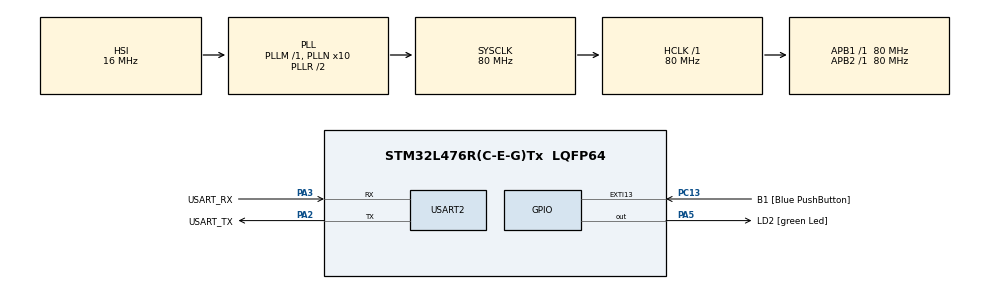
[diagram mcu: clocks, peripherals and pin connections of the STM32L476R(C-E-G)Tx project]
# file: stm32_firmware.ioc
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CRC.InputDataInversionMode=CRC_INPUTDATA_INVERSION_BYTE
CRC.OutputDataInversionMode=CRC_OUTPUTDATA_INVERSION_ENABLE
Dma.Request0=USART2_RX
Dma.USART2_RX.0.Direction=DMA_PERIPH_TO_MEMORY
Dma.USART2_RX.0.Instance=DMA1_Channel6
Dma.USART2_RX.0.MemDataAlignment=DMA_MDATAALIGN_BYTE
Dma.USART2_RX.0.MemInc=DMA_MINC_ENABLE
Dma.USART2_RX.0.Mode=DMA_NORMAL
Dma.USART2_RX.0.PeriphDataAlignment=DMA_PDATAALIGN_BYTE
Dma.USART2_RX.0.PeriphInc=DMA_PINC_DISABLE
Dma.USART2_RX.0.Priority=DMA_PRIORITY_VERY_HIGH
Mcu.Family=STM32L4
Mcu.Name=STM32L476R(C-E-G)Tx
Mcu.Package=LQFP64
NVIC.DMA1_Channel6_IRQn=true\:0\:0\:false\:false\:true\:false\:true\:true
NVIC.PriorityGroup=NVIC_PRIORITYGROUP_4
NVIC.USART2_IRQn=true\:0\:0\:false\:false\:true\:true\:true\:true
PA13\ (JTMS-SWDIO).GPIO_Label=TMS
PA13\ (JTMS-SWDIO).Mode=Serial_Wire
PA13\ (JTMS-SWDIO).Signal=SYS_JTMS-SWDIO
PA14\ (JTCK-SWCLK).GPIO_Label=TCK
PA14\ (JTCK-SWCLK).Mode=Serial_Wire
PA14\ (JTCK-SWCLK).Signal=SYS_JTCK-SWCLK
PA2.GPIO_Label=USART_TX
PA2.GPIO_Mode=GPIO_MODE_AF_PP
PA2.GPIO_PuPd=GPIO_NOPULL
PA2.GPIO_Speed=GPIO_SPEED_FREQ_VERY_HIGH
PA2.Mode=Asynchronous
PA2.Signal=USART2_TX
PA3.GPIO_Label=USART_RX
PA3.GPIO_Mode=GPIO_MODE_AF_PP
PA3.GPIO_PuPd=GPIO_NOPULL
PA3.GPIO_Speed=GPIO_SPEED_FREQ_VERY_HIGH
PA3.Mode=Asynchronous
PA3.Signal=USART2_RX
PA5.GPIO_Label=LD2 [green Led]
PA5.GPIO_ModeDefaultOutputPP=GPIO_MODE_OUTPUT_PP
PA5.GPIO_PuPd=GPIO_NOPULL
PA5.GPIO_Speed=GPIO_SPEED_FREQ_LOW
PA5.Signal=GPIO_Output
PB3\ (JTDO-TRACESWO).GPIO_Label=SWO
PB3\ (JTDO-TRACESWO).Signal=SYS_JTDO-SWO
PC13.GPIO_Label=B1 [Blue PushButton]
PC13.GPIO_ModeDefaultEXTI=GPIO_MODE_IT_FALLING
PC13.GPIO_PuPd=GPIO_NOPULL
PC13.Signal=GPXTI13
PC14-OSC32_IN\ (PC14).Mode=LSE-External-Oscillator
PC14-OSC32_IN\ (PC14).Signal=RCC_OSC32_IN
PC15-OSC32_OUT\ (PC15).Mode=LSE-External-Oscillator
PC15-OSC32_OUT\ (PC15).Signal=RCC_OSC32_OUT
PH0-OSC_IN\ (PH0).Signal=RCC_OSC_IN
PH1-OSC_OUT\ (PH1).Signal=RCC_OSC_OUT
ProjectManager.HeapSize=0x200
ProjectManager.StackSize=0x400
ProjectManager.TargetToolchain=CMake
RCC.ADCFreq_Value=64000000
RCC.AHBFreq_Value=80000000
RCC.APB1Freq_Value=80000000
RCC.APB1TimFreq_Value=80000000
RCC.APB2Freq_Value=80000000
RCC.APB2TimFreq_Value=80000000
RCC.CortexFreq_Value=80000000
RCC.HCLKFreq_Value=80000000
RCC.HSE_VALUE=8000000
RCC.HSI_VALUE=16000000
RCC.MSI_VALUE=4000000
RCC.PLLN=10
RCC.PLLSourceVirtual=RCC_PLLSOURCE_HSI
RCC.PREFETCH_ENABLE=1
RCC.SYSCLKFreq_VALUE=80000000
RCC.SYSCLKSource=RCC_SYSCLKSOURCE_PLLCLK
RCC.USBFreq_Value=64000000
RCC.VCOOutputFreq_Value=160000000
USART2.VirtualMode-Asynchronous=VM_ASYNC
VP_CRC_VS_CRC.Mode=CRC_Activate
board=NUCLEO-L476RG

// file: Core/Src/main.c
/* USER CODE BEGIN Header */
/**
 ******************************************************************************
 * @file           : main.c
 * @brief          : Main program body
 ******************************************************************************
 * @attention
 *
 * Copyright (c) 2025 STMicroelectronics.
 * All rights reserved.
 *
 * This software is licensed under terms that can be found in the LICENSE file
 * in the root directory of this software component.
 * If no LICENSE file comes with this software, it is provided AS-IS.
 *
 ******************************************************************************
 */
/* USER CODE END Header */
#include "main.h"

/* USER CODE BEGIN Includes */

#include "stdbool.h"
#include "string.h"
#include <stdlib.h>
#include <stdio.h>

/* USER CODE END Includes */

CRC_HandleTypeDef hcrc;

UART_HandleTypeDef huart2;
DMA_HandleTypeDef hdma_usart2_rx;

/* USER CODE BEGIN PV */

#define UART2RxBufferSize 200
uint8_t UART2RxBuffer[UART2RxBufferSize];

// Position data frame specific variables
uint8_t DataFramaBuffer[UART2RxBufferSize];
volatile bool DataFrameReceived = false;
volatile uint16_t DataFrameLen = 0;

uint8_t DataFrameStartBit = 0x80;
uint8_t DataFrameEndBit = 0x81;

void HAL_UARTEx_RxEventCallback(UART_HandleTypeDef *huart, uint16_t Size)
{
  if (huart->Instance == USART2)
  {
    // HAL_UART_RxEventTypeTypeDef RxEventType = HAL_UARTEx_GetRxEventType(huart);

    // Check if the data frame is received
    if (UART2RxBuffer[0] == DataFrameStartBit && UART2RxBuffer[Size - 1] == DataFrameEndBit)
    {
      memcpy(DataFramaBuffer, UART2RxBuffer, Size);
      DataFrameLen = Size;
      DataFrameReceived = true;
    }

    HAL_UARTEx_ReceiveToIdle_DMA(&huart2, UART2RxBuffer, UART2RxBufferSize);
    __HAL_DMA_DISABLE_IT(&hdma_usart2_rx, DMA_IT_HT); // Disable Half Transfer interrupt
  }
}

/* USER CODE END PV */

void SystemClock_Config(void);
static void MX_GPIO_Init(void);
static void MX_DMA_Init(void);
static void MX_USART2_UART_Init(void);
static void MX_CRC_Init(void);

/* USER CODE BEGIN 0 */

// This magic CRC32 function is necessary to match the CRC32 calculation of ZLIB
// from https://techoverflow.net/2024/08/13/how-to-configure-stm32h7-hardware-crc-to-match-zlib-crc32-in-python/
uint32_t CalculateCRC32(uint8_t *data, size_t length)
{
  uint32_t crc_result = HAL_CRC_Calculate(&hcrc, (uint32_t *)data, length);
  return crc_result ^ 0xFFFFFFFF;
}

/* USER CODE END 0 */

int main(void)
{

  /* MCU Configuration--------------------------------------------------------*/

  /* Reset of all peripherals, Initializes the Flash interface and the Systick. */
  HAL_Init();

  /* Configure the system clock */
  SystemClock_Config();

  /* Initialize all configured peripherals */
  MX_GPIO_Init();
  MX_DMA_Init();
  MX_USART2_UART_Init();
  MX_CRC_Init();
  /* USER CODE BEGIN 2 */

  // Start UART DMA communication
  HAL_UARTEx_ReceiveToIdle_DMA(&huart2, UART2RxBuffer, UART2RxBufferSize);
  __HAL_DMA_DISABLE_IT(&hdma_usart2_rx, DMA_IT_HT); // Disable Half Transfer interrupt

  /* USER CODE END 2 */

  /* Infinite loop */
  while (1)
  {

    /* USER CODE BEGIN 3 */

    if (DataFrameReceived)
    {
      DataFrameReceived = false;

      // Check start and end bits
      if (DataFramaBuffer[0] != DataFrameStartBit || DataFramaBuffer[DataFrameLen - 1] != DataFrameEndBit)
      {
        // Invalid data frame
        continue;
      }

      // Process the payload
      uint16_t payload_len = (uint16_t)(DataFramaBuffer[1]) << 8 | DataFramaBuffer[2];

      // Check the payload length
      // payload length = data frame length - 8 (start bit, end bit, 2 bytes for payload length, 4 bytes for CRC)
      if ((payload_len != DataFrameLen - 8) || (payload_len == 0))
      {
        // Invalid data frame
        continue;
      }

      const uint8_t *payload = &DataFramaBuffer[3];

      // Check CRC32 of payload
      uint32_t crc = (uint32_t)(DataFramaBuffer[DataFrameLen - 5]) << 24 | (uint32_t)(DataFramaBuffer[DataFrameLen - 4]) << 16 | (uint32_t)(DataFramaBuffer[DataFrameLen - 3]) << 8 | (uint32_t)(DataFramaBuffer[DataFrameLen - 2]);
      uint32_t crc_calculated = CalculateCRC32(payload, payload_len);

      if (crc != crc_calculated)
      {
        HAL_UART_Transmit(&huart2, (uint8_t *)"CRC Error\n", strlen("CRC Error\n"), 1000);
        // Invalid data frame
        continue;
      }

      int field_count = 0;
      size_t i = 0;
      while (i < payload_len)
      {
        if (i + 1 > payload_len)
          break; // exit if there is no enough data
        uint8_t name_len = payload[i];
        i += 1;
        // check for next data (name_len + 4 bytes for double)
        if (i + name_len + 4 > payload_len)
          break;
        i += name_len;
        i += 4;
        field_count++; // incerase the field count if everything is ok with previous data
      }

      // Check the field count
      if (field_count == 0)
      {
        // Invalid data frame
        continue;
      }

      char **names = malloc(field_count * sizeof(char *));
      float *values = malloc(field_count * sizeof(float));

      i = 0;
      int index = 0;
      while (i < payload_len)
      {
        uint8_t name_len = payload[i];
        i += 1;

        char *name = malloc((name_len + 1) * sizeof(char));
        memcpy(name, &payload[i], name_len);
        name[name_len] = '\0';

        i += name_len;

        uint32_t value = (uint32_t)(payload[i]) << 24 | (uint32_t)(payload[i + 1]) << 16 | (uint32_t)(payload[i + 2]) << 8 | (uint32_t)(payload[i + 3]);

        i += 4;

        names[index] = name;
        values[index] = *(float *)(&value); // Retrieve the float value from uint32_t bits

        index++;
      }

      // Send positions to UART
      for (int i = 0; i < field_count; i++)
      {
        char buffer[100];
        sprintf(buffer, "%s: %f\n", names[i], values[i]);
        HAL_UART_Transmit(&huart2, (uint8_t *)buffer, strlen(buffer), 1000);
      }

      // Free the memory
      for (int i = 0; i < field_count; i++)
      {
        free(names[i]);
      }

      free(names);
      free(values);
    }
    /* USER CODE BEGIN 3 */
  }
  /* USER CODE END 3 */
}

void SystemClock_Config(void)
{
  RCC_OscInitTypeDef RCC_OscInitStruct = {0};
  RCC_ClkInitTypeDef RCC_ClkInitStruct = {0};

  /** Configure the main internal regulator output voltage
   */
  if (HAL_PWREx_ControlVoltageScaling(PWR_REGULATOR_VOLTAGE_SCALE1) != HAL_OK)
  {
    Error_Handler();
  }

  /** Initializes the RCC Oscillators according to the specified parameters
   * in the RCC_OscInitTypeDef structure.
   */
  RCC_OscInitStruct.OscillatorType = RCC_OSCILLATORTYPE_HSI;
  RCC_OscInitStruct.HSIState = RCC_HSI_ON;
  RCC_OscInitStruct.HSICalibrationValue = RCC_HSICALIBRATION_DEFAULT;
  RCC_OscInitStruct.PLL.PLLState = RCC_PLL_ON;
  RCC_OscInitStruct.PLL.PLLSource = RCC_PLLSOURCE_HSI;
  RCC_OscInitStruct.PLL.PLLM = 1;
  RCC_OscInitStruct.PLL.PLLN = 10;
  RCC_OscInitStruct.PLL.PLLP = RCC_PLLP_DIV7;
  RCC_OscInitStruct.PLL.PLLQ = RCC_PLLQ_DIV2;
  RCC_OscInitStruct.PLL.PLLR = RCC_PLLR_DIV2;
  if (HAL_RCC_OscConfig(&RCC_OscInitStruct) != HAL_OK)
  {
    Error_Handler();
  }

  /** Initializes the CPU, AHB and APB buses clocks
   */
  RCC_ClkInitStruct.ClockType = RCC_CLOCKTYPE_HCLK | RCC_CLOCKTYPE_SYSCLK | RCC_CLOCKTYPE_PCLK1 | RCC_CLOCKTYPE_PCLK2;
  RCC_ClkInitStruct.SYSCLKSource = RCC_SYSCLKSOURCE_PLLCLK;
  RCC_ClkInitStruct.AHBCLKDivider = RCC_SYSCLK_DIV1;
  RCC_ClkInitStruct.APB1CLKDivider = RCC_HCLK_DIV1;
  RCC_ClkInitStruct.APB2CLKDivider = RCC_HCLK_DIV1;

  if (HAL_RCC_ClockConfig(&RCC_ClkInitStruct, FLASH_LATENCY_4) != HAL_OK)
  {
    Error_Handler();
  }
}

static void MX_CRC_Init(void)
{

  hcrc.Instance = CRC;
  hcrc.Init.DefaultPolynomialUse = DEFAULT_POLYNOMIAL_ENABLE;
  hcrc.Init.DefaultInitValueUse = DEFAULT_INIT_VALUE_ENABLE;
  hcrc.Init.InputDataInversionMode = CRC_INPUTDATA_INVERSION_BYTE;
  hcrc.Init.OutputDataInversionMode = CRC_OUTPUTDATA_INVERSION_ENABLE;
  hcrc.InputDataFormat = CRC_INPUTDATA_FORMAT_BYTES;
  if (HAL_CRC_Init(&hcrc) != HAL_OK)
  {
    Error_Handler();
  }
}

static void MX_USART2_UART_Init(void)
{

  huart2.Instance = USART2;
  huart2.Init.BaudRate = 115200;
  huart2.Init.WordLength = UART_WORDLENGTH_8B;
  huart2.Init.StopBits = UART_STOPBITS_1;
  huart2.Init.Parity = UART_PARITY_NONE;
  huart2.Init.Mode = UART_MODE_TX_RX;
  huart2.Init.HwFlowCtl = UART_HWCONTROL_NONE;
  huart2.Init.OverSampling = UART_OVERSAMPLING_16;
  huart2.Init.OneBitSampling = UART_ONE_BIT_SAMPLE_DISABLE;
  huart2.AdvancedInit.AdvFeatureInit = UART_ADVFEATURE_NO_INIT;
  if (HAL_UART_Init(&huart2) != HAL_OK)
  {
    Error_Handler();
  }
}

static void MX_DMA_Init(void)
{

  /* DMA controller clock enable */
  __HAL_RCC_DMA1_CLK_ENABLE();

  /* DMA interrupt init */
  /* DMA1_Channel6_IRQn interrupt configuration */
  HAL_NVIC_SetPriority(DMA1_Channel6_IRQn, 0, 0);
  HAL_NVIC_EnableIRQ(DMA1_Channel6_IRQn);
}

static void MX_GPIO_Init(void)
{
  GPIO_InitTypeDef GPIO_InitStruct = {0};

  /* GPIO Ports Clock Enable */
  __HAL_RCC_GPIOC_CLK_ENABLE();
  __HAL_RCC_GPIOH_CLK_ENABLE();
  __HAL_RCC_GPIOA_CLK_ENABLE();
  __HAL_RCC_GPIOB_CLK_ENABLE();

  /*Configure GPIO pin Output Level */
  HAL_GPIO_WritePin(LD2_GPIO_Port, LD2_Pin, GPIO_PIN_RESET);

  /*Configure GPIO pin : B1_Pin */
  GPIO_InitStruct.Pin = B1_Pin;
  GPIO_InitStruct.Mode = GPIO_MODE_IT_FALLING;
  GPIO_InitStruct.Pull = GPIO_NOPULL;
  HAL_GPIO_Init(B1_GPIO_Port, &GPIO_InitStruct);

  /*Configure GPIO pin : LD2_Pin */
  GPIO_InitStruct.Pin = LD2_Pin;
  GPIO_InitStruct.Mode = GPIO_MODE_OUTPUT_PP;
  GPIO_InitStruct.Pull = GPIO_NOPULL;
  GPIO_InitStruct.Speed = GPIO_SPEED_FREQ_LOW;
  HAL_GPIO_Init(LD2_GPIO_Port, &GPIO_InitStruct);

}

void Error_Handler(void)
{
  __disable_irq();
  while (1)
  {
  }
}
